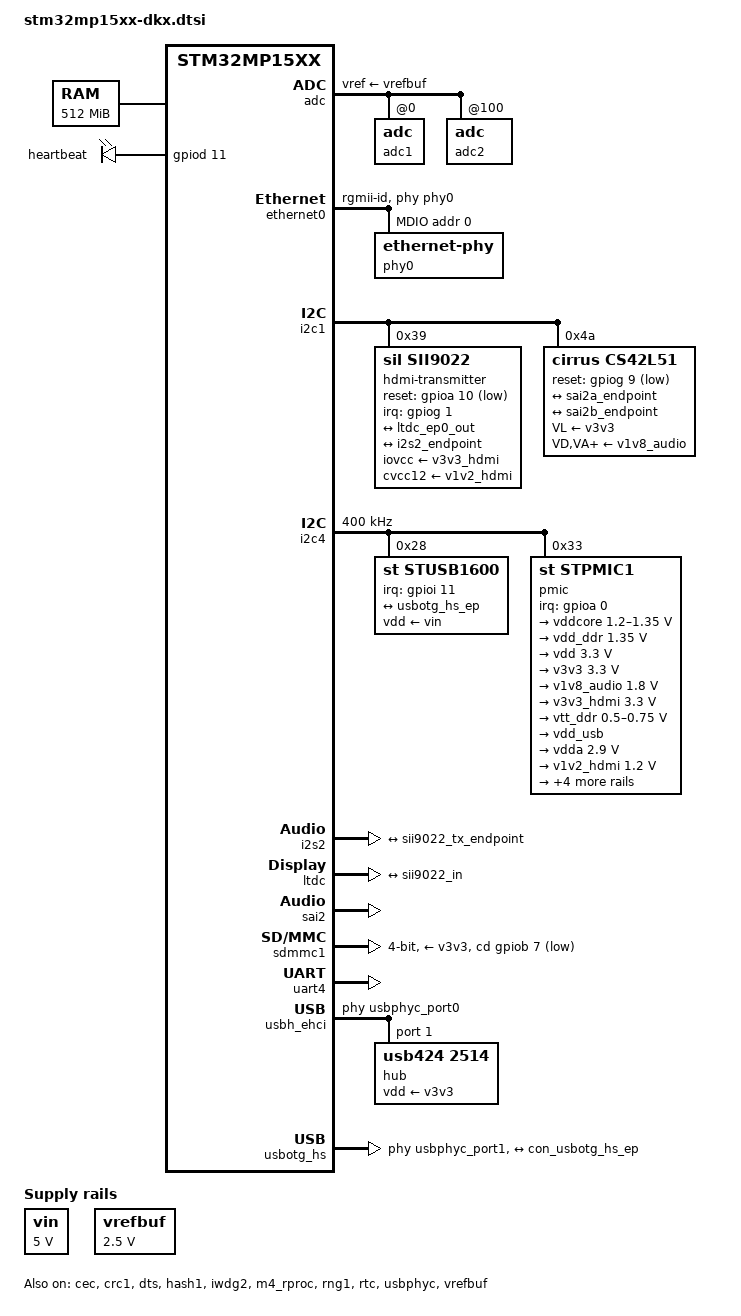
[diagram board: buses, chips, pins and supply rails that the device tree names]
// SPDX-License-Identifier: (GPL-2.0+ OR BSD-3-Clause)
/*
 * Copyright (C) STMicroelectronics 2019 - All Rights Reserved
 * Author: Alexandre Torgue <alexandre.torgue@st.com> for STMicroelectronics.
 */

#include <dt-bindings/gpio/gpio.h>
#include <dt-bindings/mfd/st,stpmic1.h>

/ {
	aliases {
		serial0 = &uart4;
		serial1 = &usart3;
		serial2 = &uart7;
	};

	memory@c0000000 {
		device_type = "memory";
		reg = <0xc0000000 0x20000000>;
	};

	reserved-memory {
		#address-cells = <1>;
		#size-cells = <1>;
		ranges;

		mcuram2: mcuram2@10000000 {
			compatible = "shared-dma-pool";
			reg = <0x10000000 0x40000>;
			no-map;
		};

		vdev0vring0: vdev0vring0@10040000 {
			compatible = "shared-dma-pool";
			reg = <0x10040000 0x1000>;
			no-map;
		};

		vdev0vring1: vdev0vring1@10041000 {
			compatible = "shared-dma-pool";
			reg = <0x10041000 0x1000>;
			no-map;
		};

		vdev0buffer: vdev0buffer@10042000 {
			compatible = "shared-dma-pool";
			reg = <0x10042000 0x4000>;
			no-map;
		};

		mcuram: mcuram@30000000 {
			compatible = "shared-dma-pool";
			reg = <0x30000000 0x40000>;
			no-map;
		};

		retram: retram@38000000 {
			compatible = "shared-dma-pool";
			reg = <0x38000000 0x10000>;
			no-map;
		};
	};

	led {
		compatible = "gpio-leds";
		led-blue {
			label = "heartbeat";
			gpios = <&gpiod 11 GPIO_ACTIVE_HIGH>;
			linux,default-trigger = "heartbeat";
			default-state = "off";
		};
	};

	sound {
		compatible = "audio-graph-card";
		label = "STM32MP15-DK";
		routing =
			"Playback" , "MCLK",
			"Capture" , "MCLK",
			"MICL" , "Mic Bias";
		dais = <&sai2a_port &sai2b_port &i2s2_port>;
		status = "okay";
	};

	vin: vin {
		compatible = "regulator-fixed";
		regulator-name = "vin";
		regulator-min-microvolt = <5000000>;
		regulator-max-microvolt = <5000000>;
		regulator-always-on;
	};
};

&adc {
	pinctrl-names = "default";
	pinctrl-0 = <&adc12_usb_cc_pins_a>;
	vdd-supply = <&vdd>;
	vdda-supply = <&vdd>;
	vref-supply = <&vrefbuf>;
	status = "okay";
	adc1: adc@0 {
		status = "okay";
		/*
		 * Type-C USB_PWR_CC1 & USB_PWR_CC2 on in18 & in19.
		 * Use at least 5 * RC time, e.g. 5 * (Rp + Rd) * C:
		 * 5 * (56 + 47kOhms) * 5pF => 2.5us.
		 * Use arbitrary margin here (e.g. 5us).
		 */
		channel@18 {
			reg = <18>;
			st,min-sample-time-ns = <5000>;
		};
		channel@19 {
			reg = <19>;
			st,min-sample-time-ns = <5000>;
		};
	};
	adc2: adc@100 {
		status = "okay";
		/* USB Type-C CC1 & CC2 */
		channel@18 {
			reg = <18>;
			st,min-sample-time-ns = <5000>;
		};
		channel@19 {
			reg = <19>;
			st,min-sample-time-ns = <5000>;
		};
	};
};

&cec {
	pinctrl-names = "default", "sleep";
	pinctrl-0 = <&cec_pins_b>;
	pinctrl-1 = <&cec_sleep_pins_b>;
	status = "okay";
};

&crc1 {
	status = "okay";
};

&dts {
	status = "okay";
};

&ethernet0 {
	status = "okay";
	pinctrl-0 = <&ethernet0_rgmii_pins_a>;
	pinctrl-1 = <&ethernet0_rgmii_sleep_pins_a>;
	pinctrl-names = "default", "sleep";
	phy-mode = "rgmii-id";
	max-speed = <1000>;
	phy-handle = <&phy0>;

	mdio {
		#address-cells = <1>;
		#size-cells = <0>;
		compatible = "snps,dwmac-mdio";
		phy0: ethernet-phy@0 {
			reg = <0>;
		};
	};
};

&hash1 {
	status = "okay";
};

&i2c1 {
	pinctrl-names = "default", "sleep";
	pinctrl-0 = <&i2c1_pins_a>;
	pinctrl-1 = <&i2c1_sleep_pins_a>;
	i2c-scl-rising-time-ns = <100>;
	i2c-scl-falling-time-ns = <7>;
	status = "okay";
	/delete-property/dmas;
	/delete-property/dma-names;

	hdmi-transmitter@39 {
		compatible = "sil,sii9022";
		reg = <0x39>;
		iovcc-supply = <&v3v3_hdmi>;
		cvcc12-supply = <&v1v2_hdmi>;
		reset-gpios = <&gpioa 10 GPIO_ACTIVE_LOW>;
		interrupts = <1 IRQ_TYPE_EDGE_FALLING>;
		interrupt-parent = <&gpiog>;
		#sound-dai-cells = <0>;
		status = "okay";

		ports {
			#address-cells = <1>;
			#size-cells = <0>;

			port@0 {
				reg = <0>;
				sii9022_in: endpoint {
					remote-endpoint = <&ltdc_ep0_out>;
				};
			};

			port@3 {
				reg = <3>;
				sii9022_tx_endpoint: endpoint {
					remote-endpoint = <&i2s2_endpoint>;
				};
			};
		};
	};

	cs42l51: cs42l51@4a {
		compatible = "cirrus,cs42l51";
		reg = <0x4a>;
		#sound-dai-cells = <0>;
		VL-supply = <&v3v3>;
		VD-supply = <&v1v8_audio>;
		VA-supply = <&v1v8_audio>;
		VAHP-supply = <&v1v8_audio>;
		reset-gpios = <&gpiog 9 GPIO_ACTIVE_LOW>;
		clocks = <&sai2a>;
		clock-names = "MCLK";
		status = "okay";

		cs42l51_port: port {
			#address-cells = <1>;
			#size-cells = <0>;

			cs42l51_tx_endpoint: endpoint@0 {
				reg = <0>;
				remote-endpoint = <&sai2a_endpoint>;
				frame-master = <&cs42l51_tx_endpoint>;
				bitclock-master = <&cs42l51_tx_endpoint>;
			};

			cs42l51_rx_endpoint: endpoint@1 {
				reg = <1>;
				remote-endpoint = <&sai2b_endpoint>;
				frame-master = <&cs42l51_rx_endpoint>;
				bitclock-master = <&cs42l51_rx_endpoint>;
			};
		};
	};
};

&i2c4 {
	pinctrl-names = "default", "sleep";
	pinctrl-0 = <&i2c4_pins_a>;
	pinctrl-1 = <&i2c4_sleep_pins_a>;
	i2c-scl-rising-time-ns = <185>;
	i2c-scl-falling-time-ns = <20>;
	clock-frequency = <400000>;
	status = "okay";
	/* spare dmas for other usage */
	/delete-property/dmas;
	/delete-property/dma-names;

	stusb1600@28 {
		compatible = "st,stusb1600";
		reg = <0x28>;
		interrupts = <11 IRQ_TYPE_LEVEL_LOW>;
		interrupt-parent = <&gpioi>;
		pinctrl-names = "default";
		pinctrl-0 = <&stusb1600_pins_a>;
		status = "okay";
		vdd-supply = <&vin>;

		connector {
			compatible = "usb-c-connector";
			label = "USB-C";
			power-role = "dual";
			typec-power-opmode = "default";

			port {
				con_usbotg_hs_ep: endpoint {
					remote-endpoint = <&usbotg_hs_ep>;
				};
			};
		};
	};

	pmic: stpmic@33 {
		compatible = "st,stpmic1";
		reg = <0x33>;
		interrupts-extended = <&gpioa 0 IRQ_TYPE_EDGE_FALLING>;
		interrupt-controller;
		#interrupt-cells = <2>;
		status = "okay";

		regulators {
			compatible = "st,stpmic1-regulators";
			buck1-supply = <&vin>;
			buck2-supply = <&vin>;
			buck3-supply = <&vin>;
			buck4-supply = <&vin>;
			ldo1-supply = <&v3v3>;
			ldo2-supply = <&vin>;
			ldo3-supply = <&vdd_ddr>;
			ldo4-supply = <&vin>;
			ldo5-supply = <&vin>;
			ldo6-supply = <&v3v3>;
			vref_ddr-supply = <&vin>;
			boost-supply = <&vin>;
			pwr_sw1-supply = <&bst_out>;
			pwr_sw2-supply = <&bst_out>;

			vddcore: buck1 {
				regulator-name = "vddcore";
				regulator-min-microvolt = <1200000>;
				regulator-max-microvolt = <1350000>;
				regulator-always-on;
				regulator-initial-mode = <0>;
				regulator-over-current-protection;
			};

			vdd_ddr: buck2 {
				regulator-name = "vdd_ddr";
				regulator-min-microvolt = <1350000>;
				regulator-max-microvolt = <1350000>;
				regulator-always-on;
				regulator-initial-mode = <0>;
				regulator-over-current-protection;
			};

			vdd: buck3 {
				regulator-name = "vdd";
				regulator-min-microvolt = <3300000>;
				regulator-max-microvolt = <3300000>;
				regulator-always-on;
				st,mask-reset;
				regulator-initial-mode = <0>;
				regulator-over-current-protection;
			};

			v3v3: buck4 {
				regulator-name = "v3v3";
				regulator-min-microvolt = <3300000>;
				regulator-max-microvolt = <3300000>;
				regulator-always-on;
				regulator-over-current-protection;
				regulator-initial-mode = <0>;
			};

			v1v8_audio: ldo1 {
				regulator-name = "v1v8_audio";
				regulator-min-microvolt = <1800000>;
				regulator-max-microvolt = <1800000>;
				regulator-always-on;
				interrupts = <IT_CURLIM_LDO1 0>;
			};

			v3v3_hdmi: ldo2 {
				regulator-name = "v3v3_hdmi";
				regulator-min-microvolt = <3300000>;
				regulator-max-microvolt = <3300000>;
				regulator-always-on;
				interrupts = <IT_CURLIM_LDO2 0>;
			};

			vtt_ddr: ldo3 {
				regulator-name = "vtt_ddr";
				regulator-min-microvolt = <500000>;
				regulator-max-microvolt = <750000>;
				regulator-always-on;
				regulator-over-current-protection;
			};

			vdd_usb: ldo4 {
				regulator-name = "vdd_usb";
				interrupts = <IT_CURLIM_LDO4 0>;
			};

			vdda: ldo5 {
				regulator-name = "vdda";
				regulator-min-microvolt = <2900000>;
				regulator-max-microvolt = <2900000>;
				interrupts = <IT_CURLIM_LDO5 0>;
				regulator-boot-on;
			};

			v1v2_hdmi: ldo6 {
				regulator-name = "v1v2_hdmi";
				regulator-min-microvolt = <1200000>;
				regulator-max-microvolt = <1200000>;
				regulator-always-on;
				interrupts = <IT_CURLIM_LDO6 0>;
			};

			vref_ddr: vref_ddr {
				regulator-name = "vref_ddr";
				regulator-always-on;
			};

			bst_out: boost {
				regulator-name = "bst_out";
				interrupts = <IT_OCP_BOOST 0>;
			};

			vbus_otg: pwr_sw1 {
				regulator-name = "vbus_otg";
				interrupts = <IT_OCP_OTG 0>;
			};

			vbus_sw: pwr_sw2 {
				regulator-name = "vbus_sw";
				interrupts = <IT_OCP_SWOUT 0>;
				regulator-active-discharge = <1>;
			};
		};

		onkey {
			compatible = "st,stpmic1-onkey";
			interrupts = <IT_PONKEY_F 0>, <IT_PONKEY_R 0>;
			interrupt-names = "onkey-falling", "onkey-rising";
			power-off-time-sec = <10>;
			status = "okay";
		};

		watchdog {
			compatible = "st,stpmic1-wdt";
			status = "disabled";
		};
	};
};

&i2c5 {
	pinctrl-names = "default", "sleep";
	pinctrl-0 = <&i2c5_pins_a>;
	pinctrl-1 = <&i2c5_sleep_pins_a>;
	i2c-scl-rising-time-ns = <185>;
	i2c-scl-falling-time-ns = <20>;
	clock-frequency = <400000>;
	/* spare dmas for other usage */
	/delete-property/dmas;
	/delete-property/dma-names;
	status = "disabled";
};

&i2s2 {
	clocks = <&rcc SPI2>, <&rcc SPI2_K>, <&rcc PLL3_Q>, <&rcc PLL3_R>;
	clock-names = "pclk", "i2sclk", "x8k", "x11k";
	pinctrl-names = "default", "sleep";
	pinctrl-0 = <&i2s2_pins_a>;
	pinctrl-1 = <&i2s2_sleep_pins_a>;
	status = "okay";

	i2s2_port: port {
		i2s2_endpoint: endpoint {
			remote-endpoint = <&sii9022_tx_endpoint>;
			dai-format = "i2s";
			mclk-fs = <256>;
		};
	};
};

&ipcc {
	status = "okay";
};

&iwdg2 {
	timeout-sec = <32>;
	status = "okay";
};

&ltdc {
	pinctrl-names = "default", "sleep";
	pinctrl-0 = <&ltdc_pins_a>;
	pinctrl-1 = <&ltdc_sleep_pins_a>;
	status = "okay";

	port {
		ltdc_ep0_out: endpoint {
			remote-endpoint = <&sii9022_in>;
		};
	};
};

&m4_rproc {
	memory-region = <&retram>, <&mcuram>, <&mcuram2>, <&vdev0vring0>,
			<&vdev0vring1>, <&vdev0buffer>;
	mboxes = <&ipcc 0>, <&ipcc 1>, <&ipcc 2>, <&ipcc 3>;
	mbox-names = "vq0", "vq1", "shutdown", "detach";
	interrupt-parent = <&exti>;
	interrupts = <68 1>;
	status = "okay";
};

&pwr_regulators {
	vdd-supply = <&vdd>;
	vdd_3v3_usbfs-supply = <&vdd_usb>;
};

&rng1 {
	status = "okay";
};

&rtc {
	status = "okay";
};

&sai2 {
	clocks = <&rcc SAI2>, <&rcc PLL3_Q>, <&rcc PLL3_R>;
	clock-names = "pclk", "x8k", "x11k";
	pinctrl-names = "default", "sleep";
	pinctrl-0 = <&sai2a_pins_a>, <&sai2b_pins_b>;
	pinctrl-1 = <&sai2a_sleep_pins_a>, <&sai2b_sleep_pins_b>;
	status = "okay";

	sai2a: audio-controller@4400b004 {
		#clock-cells = <0>;
		dma-names = "tx";
		status = "okay";

		sai2a_port: port {
			sai2a_endpoint: endpoint {
				remote-endpoint = <&cs42l51_tx_endpoint>;
				dai-format = "i2s";
				mclk-fs = <256>;
				dai-tdm-slot-num = <2>;
				dai-tdm-slot-width = <32>;
			};
		};
	};

	sai2b: audio-controller@4400b024 {
		dma-names = "rx";
		st,sync = <&sai2a 2>;
		clocks = <&rcc SAI2_K>, <&sai2a>;
		clock-names = "sai_ck", "MCLK";
		status = "okay";

		sai2b_port: port {
			sai2b_endpoint: endpoint {
				remote-endpoint = <&cs42l51_rx_endpoint>;
				dai-format = "i2s";
				mclk-fs = <256>;
				dai-tdm-slot-num = <2>;
				dai-tdm-slot-width = <32>;
			};
		};
	};
};

&sdmmc1 {
	pinctrl-names = "default", "opendrain", "sleep";
	pinctrl-0 = <&sdmmc1_b4_pins_a>;
	pinctrl-1 = <&sdmmc1_b4_od_pins_a>;
	pinctrl-2 = <&sdmmc1_b4_sleep_pins_a>;
	cd-gpios = <&gpiob 7 (GPIO_ACTIVE_LOW | GPIO_PULL_UP)>;
	disable-wp;
	st,neg-edge;
	bus-width = <4>;
	vmmc-supply = <&v3v3>;
	status = "okay";
};

&sdmmc3 {
	pinctrl-names = "default", "opendrain", "sleep";
	pinctrl-0 = <&sdmmc3_b4_pins_a>;
	pinctrl-1 = <&sdmmc3_b4_od_pins_a>;
	pinctrl-2 = <&sdmmc3_b4_sleep_pins_a>;
	broken-cd;
	st,neg-edge;
	bus-width = <4>;
	vmmc-supply = <&v3v3>;
	status = "disabled";
};

&timers1 {
	/* spare dmas for other usage */
	/delete-property/dmas;
	/delete-property/dma-names;
	status = "disabled";
	pwm {
		pinctrl-0 = <&pwm1_pins_a>;
		pinctrl-1 = <&pwm1_sleep_pins_a>;
		pinctrl-names = "default", "sleep";
		status = "okay";
	};
	timer@0 {
		status = "okay";
	};
};

&timers3 {
	/delete-property/dmas;
	/delete-property/dma-names;
	status = "disabled";
	pwm {
		pinctrl-0 = <&pwm3_pins_a>;
		pinctrl-1 = <&pwm3_sleep_pins_a>;
		pinctrl-names = "default", "sleep";
		status = "okay";
	};
	timer@2 {
		status = "okay";
	};
};

&timers4 {
	/delete-property/dmas;
	/delete-property/dma-names;
	status = "disabled";
	pwm {
		pinctrl-0 = <&pwm4_pins_a &pwm4_pins_b>;
		pinctrl-1 = <&pwm4_sleep_pins_a &pwm4_sleep_pins_b>;
		pinctrl-names = "default", "sleep";
		status = "okay";
	};
	timer@3 {
		status = "okay";
	};
};

&timers5 {
	/delete-property/dmas;
	/delete-property/dma-names;
	status = "disabled";
	pwm {
		pinctrl-0 = <&pwm5_pins_a>;
		pinctrl-1 = <&pwm5_sleep_pins_a>;
		pinctrl-names = "default", "sleep";
		status = "okay";
	};
	timer@4 {
		status = "okay";
	};
};

&timers6 {
	/delete-property/dmas;
	/delete-property/dma-names;
	status = "disabled";
	timer@5 {
		status = "okay";
	};
};

&timers12 {
	/delete-property/dmas;
	/delete-property/dma-names;
	status = "disabled";
	pwm {
		pinctrl-0 = <&pwm12_pins_a>;
		pinctrl-1 = <&pwm12_sleep_pins_a>;
		pinctrl-names = "default", "sleep";
		status = "okay";
	};
	timer@11 {
		status = "okay";
	};
};

&uart4 {
	pinctrl-names = "default", "sleep", "idle";
	pinctrl-0 = <&uart4_pins_a>;
	pinctrl-1 = <&uart4_sleep_pins_a>;
	pinctrl-2 = <&uart4_idle_pins_a>;
	/delete-property/dmas;
	/delete-property/dma-names;
	status = "okay";
};

&uart7 {
	pinctrl-names = "default", "sleep", "idle";
	pinctrl-0 = <&uart7_pins_c>;
	pinctrl-1 = <&uart7_sleep_pins_c>;
	pinctrl-2 = <&uart7_idle_pins_c>;
	/delete-property/dmas;
	/delete-property/dma-names;
	status = "disabled";
};

&usart3 {
	pinctrl-names = "default", "sleep", "idle";
	pinctrl-0 = <&usart3_pins_c>;
	pinctrl-1 = <&usart3_sleep_pins_c>;
	pinctrl-2 = <&usart3_idle_pins_c>;
	uart-has-rtscts;
	status = "disabled";
};

&usbh_ehci {
	phys = <&usbphyc_port0>;
	status = "okay";
	#address-cells = <1>;
	#size-cells = <0>;
	/* onboard HUB */
	hub@1 {
		compatible = "usb424,2514";
		reg = <1>;
		vdd-supply = <&v3v3>;
	};
};

&usbotg_hs {
	phys = <&usbphyc_port1 0>;
	phy-names = "usb2-phy";
	usb-role-switch;
	status = "okay";

	port {
		usbotg_hs_ep: endpoint {
			remote-endpoint = <&con_usbotg_hs_ep>;
		};
	};
};

&usbphyc {
	status = "okay";
};

&usbphyc_port0 {
	phy-supply = <&vdd_usb>;
	st,tune-hs-dc-level = <2>;
	st,enable-fs-rftime-tuning;
	st,enable-hs-rftime-reduction;
	st,trim-hs-current = <15>;
	st,trim-hs-impedance = <1>;
	st,tune-squelch-level = <3>;
	st,tune-hs-rx-offset = <2>;
	st,no-lsfs-sc;
};

&usbphyc_port1 {
	phy-supply = <&vdd_usb>;
	st,tune-hs-dc-level = <2>;
	st,enable-fs-rftime-tuning;
	st,enable-hs-rftime-reduction;
	st,trim-hs-current = <15>;
	st,trim-hs-impedance = <1>;
	st,tune-squelch-level = <3>;
	st,tune-hs-rx-offset = <2>;
	st,no-lsfs-sc;
};

&vrefbuf {
	regulator-min-microvolt = <2500000>;
	regulator-max-microvolt = <2500000>;
	vdda-supply = <&vdd>;
	status = "okay";
};
